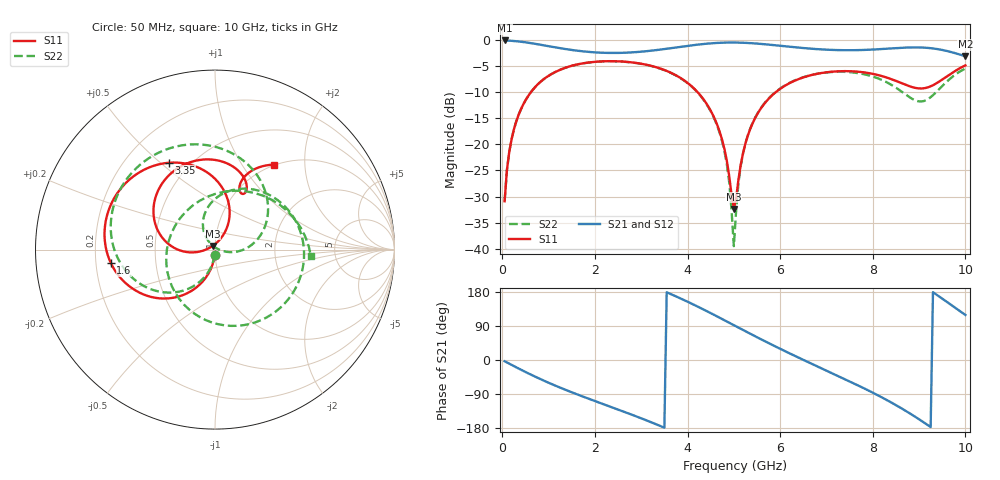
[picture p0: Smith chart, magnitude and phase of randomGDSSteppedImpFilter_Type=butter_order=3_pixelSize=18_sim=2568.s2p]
! freq	dB(S11)	phase(S11)	dB(S12)	phase(S12)
!  dB(S21)	phase(S21)	dB(S22)	phase(S22)
!S-par simulation data
#  GHz  S  DB  R 50
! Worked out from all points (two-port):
!   200 points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, 50 MHz to 10 GHz, reference 50 ohm
!   highest |S21| = -0.01 dB at 50 MHz (marker M1); lowest = -3.0 dB at 10 GHz (marker M2)
!   |S21| within 3 dB of the highest: start of sweep to 9.989 GHz
!   lowest |S11| = -32.4 dB at 5 GHz (marker M3), VSWR 1.05, Z = 48.8 + j2.03 ohm
!   |S11| at or under -10 dB: start of sweep to 613.7 MHz; 4.223 GHz to 5.897 GHz (1.675 GHz wide, 33.1 % of centre)
!   |S22| runs from -39.5 to -4.0 dB; largest |S21 - S12| = 0
!   S11 on the Smith chart (normalised r, x): 50 MHz: 1.00, -0.06; 1.6 GHz: 0.26, -0.06; 3.35 GHz: 0.39, +0.53; 10 GHz: 0.99, +1.40
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0.05  -30.91 -93.1  -0.01 -3.3  -0.01 -3.3  -30.91 -93.6
0.2  -19.00 -102.4  -0.08 -12.9  -0.08 -12.9  -19.00 -104.3
0.45  -12.34 -116.9  -0.30 -28.5  -0.30 -28.5  -12.35 -121.1
1.6  -4.65 -172.7  -1.96 -90.0  -1.96 -90.0  -4.66 171.8
1.75  -4.39 -178.9  -2.11 -96.9  -2.11 -96.9  -4.40 164.1
2.65  -4.09 146.0  -2.37 -137.6  -2.37 -137.6  -4.11 118.4
3.35  -5.23 118.0  -1.83 -171.0  -1.83 -171.0  -5.25 80.5
3.4  -5.37 115.9  -1.78 -173.5  -1.78 -173.5  -5.39 77.6
4.05  -8.52 87.2  -0.99 151.0  -0.99 151.0  -8.56 37.6
4.6  -15.34 63.6  -0.50 117.5  -0.50 117.5  -15.48 1.3
4.85  -23.22 62.8  -0.41 101.6  -0.41 101.6  -23.88 -11.0
5  -32.37 120.1  -0.41 91.9  -0.41 91.9  -39.54 58.7
5.05  -30.27 159.8  -0.41 88.7  -0.41 88.7  -32.61 117.4
5.2  -21.59 -172.8  -0.45 79.1  -0.45 79.1  -21.66 126.3
5.5  -14.26 -178.5  -0.61 60.1  -0.61 60.1  -14.19 108.4
6.1  -8.72 156.0  -1.12 23.6  -1.12 23.6  -8.66 66.8
6.7  -6.61 130.3  -1.61 -11.0  -1.61 -11.0  -6.59 25.5
7.45  -5.90 99.8  -1.88 -53.6  -1.88 -53.6  -6.07 -26.7
8.35  -7.28 68.2  -1.57 -108.8  -1.57 -108.8  -8.28 -102.5
9.2  -8.99 67.2  -1.45 -172.7  -1.45 -172.7  -11.23 117.7
9.6  -6.91 67.3  -2.03 153.4  -2.03 153.4  -7.91 48.3
10  -4.80 55.3  -3.04 118.8  -3.04 118.8  -5.42 -4.1
